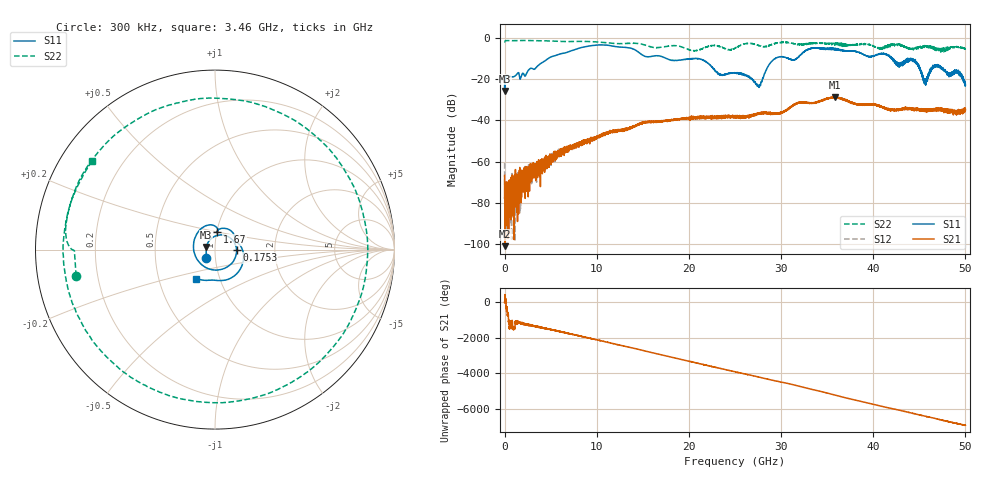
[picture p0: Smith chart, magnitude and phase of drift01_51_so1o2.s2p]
!Created with skrf (http://scikit-rf.org).
# Hz S RI R 50.0
!freq ReS11 ImS11 ReS21 ImS21 ReS12 ImS12 ReS22 ImS22
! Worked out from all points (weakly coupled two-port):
!   10001 points, 300 kHz to 50 GHz, reference 50 ohm
!   highest |S21| = -28.83 dB at 35.81 GHz (marker M1); lowest = -101.0 dB at 45.3 MHz (marker M2)
!   lowest |S11| = -25.9 dB at 5.3 MHz (marker M3), VSWR 1.11, Z = 45.3 + j1.39 ohm
!   |S11| at or under -10 dB: start of sweep to 4.768 GHz; 20.7 GHz to 29.4 GHz (8.706 GHz wide, 34.8 % of centre); 43.73 GHz to end of sweep (the widest 3 of 13)
!   |S22| runs from -7.1 to -1.4 dB; largest |S21 - S12| = 0.0042
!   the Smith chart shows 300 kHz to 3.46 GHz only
!   S11 on the Smith chart (normalised r, x): 300 kHz: 0.90, -0.09; 175.3 MHz: 1.27, -0.01; 1.67 GHz: 1.01, +0.20; 3.46 GHz: 0.77, -0.26
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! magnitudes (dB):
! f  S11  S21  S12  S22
! 300 kHz  -23.3  -66.8  -60.8  -2.1
! 5.3 MHz  -25.9  -78.1  -77.1  -2.1
! 45.3 MHz  -21.2  -101.0  -75.8  -1.7
! 175.3 MHz  -18.4  -71.8  -80.8  -1.5
! 1.67 GHz  -20.0  -69.0  -67.0  -1.4
! 3.46 GHz  -14.3  -62.2  -64.7  -1.5
! 8.335 GHz  -4.8  -51.1  -50.5  -1.8
! 16.67 GHz  -8.8  -40.7  -40.8  -4.9
! 21.16 GHz  -10.3  -38.8  -38.7  -5.8
! 25 GHz  -17.2  -38.4  -38.7  -5.2
! 27.58 GHz  -23.8  -36.8  -37.0  -3.9
! 29.27 GHz  -10.3  -36.9  -36.8  -2.9
! 31.45 GHz  -10.8  -32.5  -32.4  -3.0
! 33.34 GHz  -5.1  -31.6  -31.7  -2.7
! 35.81 GHz  -5.8  -28.8  -29.0  -3.5
! 41.67 GHz  -9.0  -34.5  -34.8  -4.3
! 42.74 GHz  -12.4  -35.4  -34.9  -3.2
! 44.4 GHz  -10.8  -34.7  -34.7  -5.3
! 45.63 GHz  -21.5  -35.5  -35.1  -4.2
! 46.89 GHz  -13.8  -34.6  -34.7  -5.3
! 49.21 GHz  -16.3  -35.8  -35.7  -4.4
! 50 GHz  -22.7  -34.8  -35.7  -5.5
